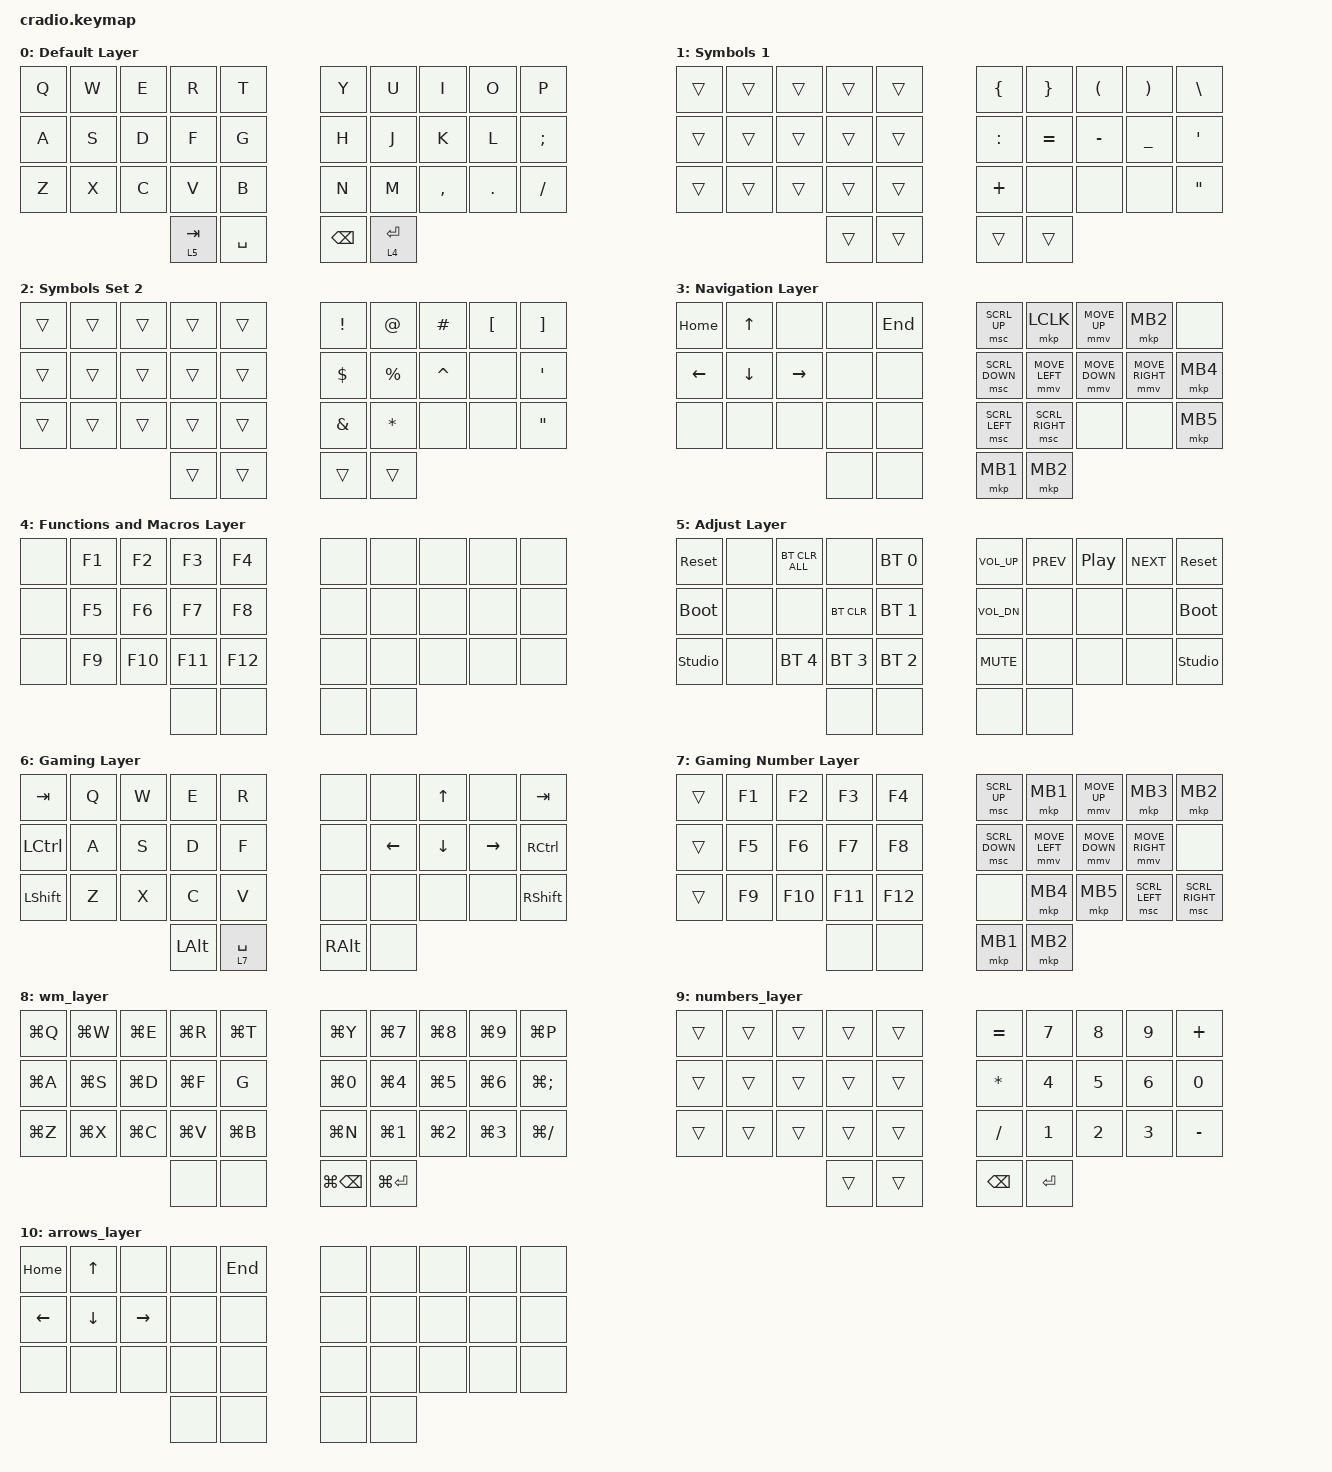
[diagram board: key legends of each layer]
#include <behaviors.dtsi>
#include <dt-bindings/zmk/bt.h>
#include <dt-bindings/zmk/keys.h>
#include <dt-bindings/zmk/pointing.h>

&mmv {
    acceleration-exponent = <4>;
    time-to-max-speed-ms = <100>;
};

&msc { time-to-max-speed-ms = <0>; };

/ {
    combos {
        compatible = "zmk,combos";

        escape {
            bindings = <&kp ESCAPE>;
            key-positions = <0 1>;
            layers = <0>;
        };

        left_ctrl {
            bindings = <&sk LEFT_CONTROL>;
            key-positions = <10 11>;
            layers = <0 8>;
        };

        left_shift {
            bindings = <&sk LEFT_SHIFT>;
            key-positions = <20 21>;
            layers = <0 8>;
        };

        tilde {
            bindings = <&kp TILDE>;
            key-positions = <1 2>;
            layers = <0>;
        };

        grave {
            bindings = <&kp GRAVE>;
            key-positions = <11 12>;
            layers = <0>;
        };

        wm_layer_or_gui {
            bindings = <&sl 8>;
            key-positions = <21 22>;
            layers = <0>;
        };

        symbol_1 {
            bindings = <&mo 1>;
            key-positions = <2 3>;
            layers = <0>;
        };

        symbols_2 {
            bindings = <&mo 2>;
            key-positions = <12 13>;
            layers = <0>;
        };

        numbers_layer {
            bindings = <&mo 9>;
            key-positions = <23 22>;
            layers = <0>;
        };

        copy {
            bindings = <&kp LC(C)>;
            key-positions = <3 4>;
            layers = <0>;
        };

        paste {
            bindings = <&kp LC(V)>;
            key-positions = <14 13>;
            layers = <0>;
        };

        left_alt {
            bindings = <&sk LEFT_ALT>;
            key-positions = <23 24>;
            layers = <0>;
        };

        left_brace {
            bindings = <&kp LEFT_BRACE>;
            key-positions = <5 6>;
            layers = <0>;
        };

        left_parenthesis {
            bindings = <&kp LEFT_PARENTHESIS>;
            key-positions = <16 15>;
            layers = <0>;
        };

        caps {
            bindings = <&kp CAPSLOCK>;
            key-positions = <25 26 27>;
            layers = <0>;
        };

        single_quote {
            bindings = <&kp SINGLE_QUOTE>;
            key-positions = <6 7>;
            layers = <0>;
        };

        arrows_layer {
            bindings = <&mo 10>;
            key-positions = <19 18>;
            layers = <0>;
        };

        minus {
            bindings = <&kp MINUS>;
            key-positions = <26 27>;
            layers = <0>;
        };

        double_quote {
            bindings = <&kp DOUBLE_QUOTES>;
            key-positions = <7 8>;
            layers = <0>;
        };

        equal {
            bindings = <&kp EQUAL>;
            key-positions = <18 17>;
            layers = <0>;
        };

        underscore {
            bindings = <&kp UNDER>;
            key-positions = <27 28>;
            layers = <0>;
        };

        backslash {
            bindings = <&kp BACKSLASH>;
            key-positions = <8 9>;
            layers = <0>;
        };

        right_shift {
            bindings = <&sk RIGHT_SHIFT>;
            key-positions = <28 29>;
            layers = <0>;
        };

        toggle_gaming_layer {
            bindings = <&tog 6>;
            key-positions = <21 22 23>;
            layers = <0 6>;
        };

        toggle_navigation_layer {
            bindings = <&tog 3>;
            key-positions = <16 17 18>;
            layers = <0 3>;
        };

        gaming_1 {
            bindings = <&kp NUMBER_1>;
            key-positions = <1 2>;
            layers = <6>;
        };

        gaming_2 {
            bindings = <&kp NUMBER_2>;
            key-positions = <2 3>;
            layers = <6>;
        };

        gaming_3 {
            bindings = <&kp NUMBER_3>;
            key-positions = <3 4>;
            layers = <6>;
        };

        gaming_4 {
            bindings = <&kp NUMBER_4>;
            key-positions = <11 12>;
            layers = <6>;
        };

        gaming_5 {
            bindings = <&kp N5>;
            key-positions = <12 13>;
            layers = <6>;
        };

        gaming_6 {
            bindings = <&kp NUMBER_6>;
            key-positions = <13 14>;
            layers = <6>;
        };

        gaming_7 {
            bindings = <&kp N7>;
            key-positions = <21 22>;
            layers = <6>;
        };

        gaming_8 {
            bindings = <&kp N8>;
            key-positions = <22 23>;
            layers = <6>;
        };

        gaming_9 {
            bindings = <&kp N9>;
            key-positions = <23 24>;
            layers = <6>;
        };

        gaming_0 {
            bindings = <&kp N0>;
            key-positions = <1 4>;
            layers = <6>;
        };

        delete {
            bindings = <&kp DELETE>;
            key-positions = <7 8 9>;
            layers = <0>;
        };

        home {
            bindings = <&kp HOME>;
            key-positions = <0 1 2>;
            layers = <0>;
        };

        end {
            bindings = <&kp END>;
            key-positions = <2 3 4>;
            layers = <0>;
        };

        insert {
            bindings = <&kp INSERT>;
            key-positions = <2 3 1>;
            layers = <0>;
        };

        page_up {
            bindings = <&kp PAGE_UP>;
            key-positions = <5 6 7>;
            layers = <0>;
        };

        page_down {
            bindings = <&kp PAGE_DOWN>;
            key-positions = <15 16 17>;
            layers = <0>;
        };

        print_screen {
            bindings = <&kp PRINTSCREEN>;
            key-positions = <6 7 8 9>;
            layers = <0>;
        };

        colon_2 {
            bindings = <&kp COLON>;
            key-positions = <16 17>;
            layers = <0>;
        };

        fn_layer {
            bindings = <&sl 4>;
            key-positions = <5 6 7>;
        };

        left_bracket {
            bindings = <&kp LEFT_BRACKET>;
            key-positions = <25 26>;
            layers = <0>;
        };

        gui_on_wm_layer {
            bindings = <&kp LEFT_GUI>;
            key-positions = <21 22>;
            layers = <8>;
        };
    };

    keymap {
        compatible = "zmk,keymap";

        default_layer {
            bindings = <
&kp Q  &kp W  &kp E  &kp R      &kp T        &kp Y          &kp U        &kp I      &kp O    &kp P
&kp A  &kp S  &kp D  &kp F      &kp G        &kp H          &kp J        &kp K      &kp L    &kp SEMICOLON
&kp Z  &kp X  &kp C  &kp V      &kp B        &kp N          &kp M        &kp COMMA  &kp DOT  &kp FSLH
                     &lt 5 TAB  &kp SPACE    &kp BACKSPACE  &lt 4 ENTER
            >;

            label = "Default Layer";
        };

        symbols_1 {
            bindings = <
&trans  &trans  &trans  &trans  &trans    &kp LEFT_BRACE  &kp RIGHT_BRACE  &kp LEFT_PARENTHESIS  &kp RIGHT_PARENTHESIS  &kp BACKSLASH
&trans  &trans  &trans  &trans  &trans    &kp COLON       &kp EQUAL        &kp MINUS             &kp UNDER              &kp SINGLE_QUOTE
&trans  &trans  &trans  &trans  &trans    &kp PLUS        &none            &none                 &none                  &kp DOUBLE_QUOTES
                        &trans  &trans    &trans          &trans
            >;

            label = "Symbols 1";
        };

        symbols_2 {
            bindings = <
&trans  &trans  &trans  &trans  &trans    &kp EXCL       &kp AT       &kp HASH   &kp LEFT_BRACKET  &kp RIGHT_BRACKET
&trans  &trans  &trans  &trans  &trans    &kp DOLLAR     &kp PERCENT  &kp CARET  &none             &kp SINGLE_QUOTE
&trans  &trans  &trans  &trans  &trans    &kp AMPERSAND  &kp STAR     &none      &none             &kp DOUBLE_QUOTES
                        &trans  &trans    &trans         &trans
            >;

            label = "Symbols Set 2";
        };

        navigation_layer {
            bindings = <
&kp HOME  &kp UP_ARROW    &none            &none  &kp END    &msc SCRL_UP    &mkp LCLK        &mmv MOVE_UP    &mkp MB2         &none
&kp LEFT  &kp DOWN_ARROW  &kp RIGHT_ARROW  &none  &none      &msc SCRL_DOWN  &mmv MOVE_LEFT   &mmv MOVE_DOWN  &mmv MOVE_RIGHT  &mkp MB4
&none     &none           &none            &none  &none      &msc SCRL_LEFT  &msc SCRL_RIGHT  &none           &none            &mkp MB5
                                           &none  &none      &mkp MB1        &mkp MB2
            >;

            label = "Navigation Layer";
        };

        fn_macro_layer {
            bindings = <
&none  &kp F1  &kp F2   &kp F3   &kp F4     &none  &none  &none  &none  &none
&none  &kp F5  &kp F6   &kp F7   &kp F8     &none  &none  &none  &none  &none
&none  &kp F9  &kp F10  &kp F11  &kp F12    &none  &none  &none  &none  &none
                        &none    &none      &none  &none
            >;

            label = "Functions and Macros Layer";
        };

        adjustment_layer {
            bindings = <
&sys_reset      &none  &bt BT_CLR_ALL  &none         &bt BT_SEL 0    &kp C_VOLUME_UP  &kp C_PREV  &kp C_PLAY_PAUSE  &kp C_NEXT  &sys_reset
&bootloader     &none  &none           &bt BT_CLR    &bt BT_SEL 1    &kp C_VOL_DN     &none       &none             &none       &bootloader
&studio_unlock  &none  &bt BT_SEL 4    &bt BT_SEL 3  &bt BT_SEL 2    &kp C_MUTE       &none       &none             &none       &studio_unlock
                                       &none         &none           &none            &none
            >;

            label = "Adjust Layer";
        };

        gaming_layer {
            bindings = <
&kp TAB    &kp Q  &kp W  &kp E         &kp R          &none          &none     &kp UP_ARROW  &none      &kp TAB
&kp LCTRL  &kp A  &kp S  &kp D         &kp F          &none          &kp LEFT  &kp DOWN      &kp RIGHT  &kp RCTRL
&kp LSHFT  &kp Z  &kp X  &kp C         &kp V          &none          &none     &none         &none      &kp RSHIFT
                         &kp LEFT_ALT  &lt 7 SPACE    &kp RIGHT_ALT  &none
            >;

            label = "Gaming Layer";
        };

        gaming_fn_layer {
            bindings = <
&trans  &kp F1  &kp F2   &kp F3   &kp F4     &msc SCRL_UP    &mkp MB1        &mmv MOVE_UP    &mkp MB3         &mkp MB2
&trans  &kp F5  &kp F6   &kp F7   &kp F8     &msc SCRL_DOWN  &mmv MOVE_LEFT  &mmv MOVE_DOWN  &mmv MOVE_RIGHT  &none
&trans  &kp F9  &kp F10  &kp F11  &kp F12    &none           &mkp MB4        &mkp MB5        &msc SCRL_LEFT   &msc SCRL_RIGHT
                         &none    &none      &mkp MB1        &mkp MB2
            >;

            label = "Gaming Number Layer";
        };

        wm_layer {
            bindings = <
&kp LG(Q)  &kp LG(W)  &kp LG(E)  &kp LG(R)  &kp LG(T)    &kp LG(Y)          &kp LG(N7)     &kp LG(N8)  &kp LG(N9)  &kp LG(P)
&kp LG(A)  &kp LG(S)  &kp LG(D)  &kp LG(F)  &kp G        &kp LG(N0)         &kp LG(N4)     &kp LG(N5)  &kp LG(N6)  &kp LG(SEMI)
&kp LG(Z)  &kp LG(X)  &kp LG(C)  &kp LG(V)  &kp LG(B)    &kp LG(N)          &kp LG(N1)     &kp LG(N2)  &kp LG(N3)  &kp LG(FSLH)
                                 &none      &none        &kp LG(BACKSPACE)  &kp LG(ENTER)
            >;
        };

        numbers_layer {
            bindings = <
&trans  &trans  &trans  &trans  &trans    &kp EQUAL  &kp N7   &kp N8  &kp N9  &kp PLUS
&trans  &trans  &trans  &trans  &trans    &kp STAR   &kp N4   &kp N5  &kp N6  &kp N0
&trans  &trans  &trans  &trans  &trans    &kp FSLH   &kp N1   &kp N2  &kp N3  &kp MINUS
                        &trans  &trans    &kp BSPC   &kp RET
            >;
        };

        arrows_layer {
            bindings = <
&kp HOME        &kp UP_ARROW    &none      &none  &kp END    &none  &none  &none  &none  &none
&kp LEFT_ARROW  &kp DOWN_ARROW  &kp RIGHT  &none  &none      &none  &none  &none  &none  &none
&none           &none           &none      &none  &none      &none  &none  &none  &none  &none
                                           &none  &none      &none  &none
            >;
        };
    };

    conditional_layers { compatible = "zmk,conditional-layers"; };
};
